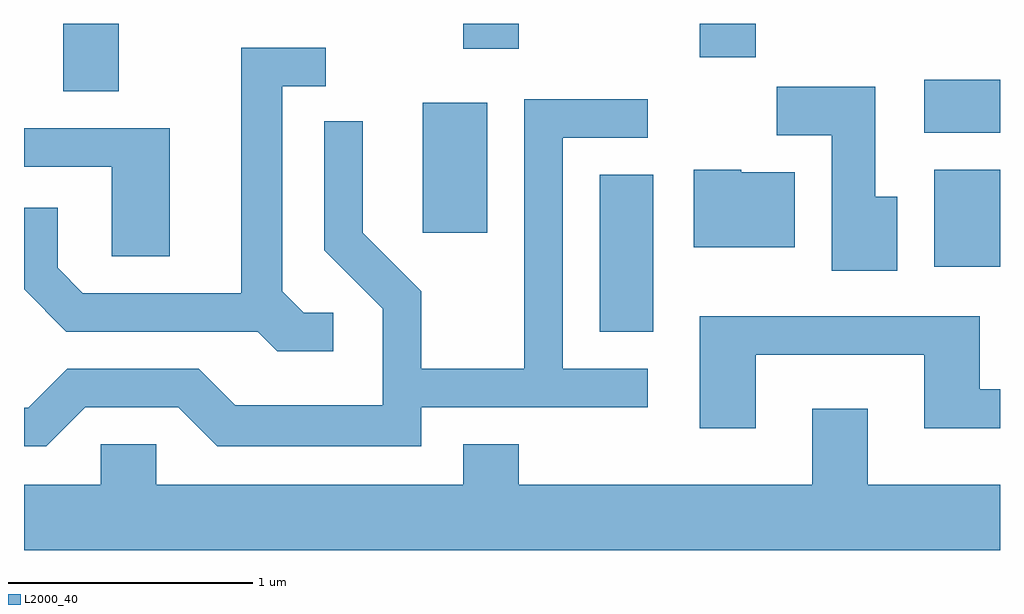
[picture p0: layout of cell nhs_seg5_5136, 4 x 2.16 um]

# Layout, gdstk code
import gdstk
lib = gdstk.Library(unit=1e-6, precision=1e-09)
def R(c, l, rs):  # rectangles x0, y0, x1, y1
    for r in rs: c.add(gdstk.rectangle(r[:2], r[2:], *l))
def P(c, l, *ps):  # polygons
    for p in ps: c.add(gdstk.Polygon(p, *l))
L2000_40 = (2000, 40)

nhs_seg5_5136 = lib.new_cell('nhs_seg5_5136')
R(nhs_seg5_5136, L2000_40, [(339.971,1448.811,340.189,1449.454), (341.341,1449.076,341.611,1449.474), (339.246,1449.216,339.509,1449.749), (341.301,1449.626,341.611,1449.844), (337.771,1449.796,337.999,1450.072), (340.381,1449.936,340.609,1450.072), (339.411,1449.971,339.639,1450.072)])
P(nhs_seg5_5136, L2000_40, [(338.878,1448.889),(338.757,1448.889),(338.669,1448.977),(338.669,1449.816),(338.848,1449.816),(338.848,1449.974),(338.501,1449.974),(338.501,1448.969),(337.852,1448.969),(337.749,1449.072),(337.749,1449.318),(337.611,1449.318),(337.611,1448.984),(337.784,1448.811),(338.569,1448.811),(338.649,1448.731),(338.878,1448.731)],
  [(341.189,1449.364),(341.099,1449.364),(341.099,1449.814),(340.696,1449.814),(340.696,1449.616),(340.921,1449.616),(340.921,1449.061),(341.189,1449.061)],
  [(337.862,1448.501),(338.244,1448.501),(338.404,1448.341),(339.239,1448.341),(339.239,1448.501),(340.168,1448.501),(340.168,1448.659),(339.819,1448.659),(339.819,1449.606),(340.168,1449.606),(340.168,1449.764),(339.661,1449.764),(339.661,1448.659),(339.239,1448.659),(339.239,1448.977),(338.999,1449.217),(338.999,1449.673),(338.841,1449.673),(338.841,1449.144),(339.081,1448.904),(339.081,1448.509),(338.477,1448.509),(338.327,1448.659),(337.789,1448.659),(337.629,1448.499),(337.611,1448.499),(337.611,1448.341),(337.702,1448.341)],
  [(338.209,1449.644),(337.611,1449.644),(337.611,1449.486),(337.971,1449.486),(337.971,1449.121),(338.209,1449.121)],
  [(340.769,1449.464),(340.55,1449.464),(340.55,1449.474),(340.356,1449.474),(340.356,1449.156),(340.769,1449.156)],
  [(340.609,1448.716),(341.301,1448.716),(341.301,1448.416),(341.611,1448.416),(341.611,1448.574),(341.529,1448.574),(341.529,1448.874),(340.381,1448.874),(340.381,1448.416),(340.609,1448.416)],
  [(341.611,1448.184),(341.069,1448.184),(341.069,1448.494),(340.841,1448.494),(340.841,1448.184),(339.639,1448.184),(339.639,1448.349),(339.411,1448.349),(339.411,1448.184),(338.154,1448.184),(338.154,1448.349),(337.926,1448.349),(337.926,1448.184),(337.611,1448.184),(337.611,1447.916),(341.611,1447.916)])

lib.write_gds('nhs_seg5_5136.gds')
